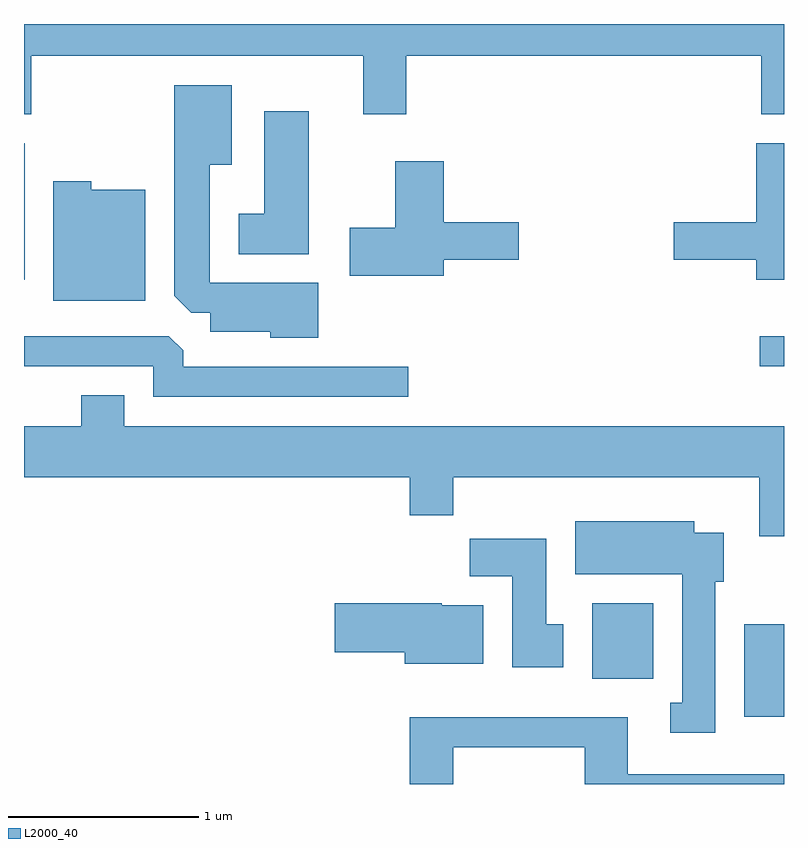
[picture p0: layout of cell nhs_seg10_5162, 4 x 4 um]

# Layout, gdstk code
import gdstk
lib = gdstk.Library(unit=1e-6, precision=1e-09)
def R(c, l, rs):  # rectangles x0, y0, x1, y1
    for r in rs: c.add(gdstk.rectangle(r[:2], r[2:], *l))
def P(c, l, *ps):  # polygons
    for p in ps: c.add(gdstk.Polygon(p, *l))
L2000_40 = (2000, 40)

nhs_seg10_5162 = lib.new_cell('nhs_seg10_5162')
R(nhs_seg10_5162, L2000_40, [(341.401,2114.876,341.611,2115.364), (340.601,2115.076,340.924,2115.474), (341.483,2116.721,341.611,2116.879), (337.611,2117.176,337.614,2117.894)])
P(nhs_seg10_5162, L2000_40, [(337.649,2118.356),(339.396,2118.356),(339.396,2118.046),(339.624,2118.046),(339.624,2118.356),(341.491,2118.356),(341.491,2118.046),(341.611,2118.046),(341.611,2118.522),(337.611,2118.522),(337.611,2118.046),(337.649,2118.046)],
  [(339.159,2117.159),(338.589,2117.159),(338.589,2117.781),(338.704,2117.781),(338.704,2118.199),(338.401,2118.199),(338.401,2117.092),(338.492,2117.001),(338.591,2117.001),(338.591,2116.901),(338.906,2116.901),(338.906,2116.871),(339.159,2116.871)],
  [(339.109,2118.064),(338.876,2118.064),(338.876,2117.524),(338.741,2117.524),(338.741,2117.311),(339.109,2117.311)],
  [(341.611,2117.894),(341.466,2117.894),(341.466,2117.479),(341.031,2117.479),(341.031,2117.281),(341.466,2117.281),(341.466,2117.176),(341.611,2117.176)],
  [(339.819,2117.281),(340.214,2117.281),(340.214,2117.479),(339.819,2117.479),(339.819,2117.799),(339.566,2117.799),(339.566,2117.449),(339.326,2117.449),(339.326,2117.196),(339.819,2117.196)],
  [(338.249,2117.649),(337.964,2117.649),(337.964,2117.694),(337.766,2117.694),(337.766,2117.066),(338.249,2117.066)],
  [(339.633,2116.719),(338.449,2116.719),(338.449,2116.804),(338.374,2116.879),(337.611,2116.879),(337.611,2116.721),(338.291,2116.721),(338.291,2116.561),(339.633,2116.561)],
  [(341.611,2116.404),(338.139,2116.404),(338.139,2116.569),(337.911,2116.569),(337.911,2116.404),(337.611,2116.404),(337.611,2116.136),(339.641,2116.136),(339.641,2115.936),(339.869,2115.936),(339.869,2116.136),(341.481,2116.136),(341.481,2115.826),(341.611,2115.826)],
  [(341.249,2115.586),(341.294,2115.586),(341.294,2115.844),(341.139,2115.844),(341.139,2115.904),(340.511,2115.904),(340.511,2115.626),(341.076,2115.626),(341.076,2114.949),(341.013,2114.949),(341.013,2114.791),(341.249,2114.791)],
  [(340.449,2115.364),(340.359,2115.364),(340.359,2115.814),(339.956,2115.814),(339.956,2115.616),(340.181,2115.616),(340.181,2115.136),(340.449,2115.136)],
  [(340.029,2115.464),(339.81,2115.464),(339.81,2115.474),(339.246,2115.474),(339.246,2115.216),(339.616,2115.216),(339.616,2115.156),(340.029,2115.156)],
  [(339.869,2114.716),(340.561,2114.716),(340.561,2114.522),(341.611,2114.522),(341.611,2114.574),(340.789,2114.574),(340.789,2114.874),(339.641,2114.874),(339.641,2114.522),(339.869,2114.522)])

lib.write_gds('nhs_seg10_5162.gds')
